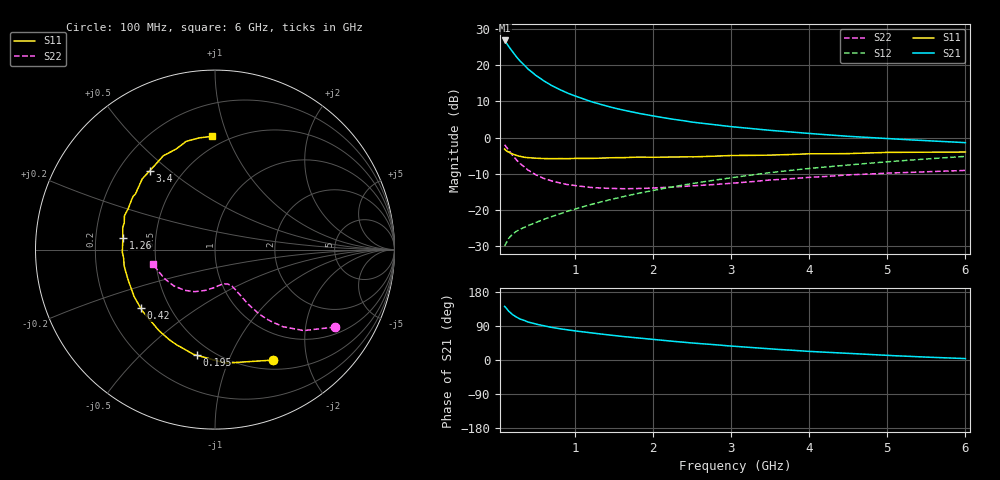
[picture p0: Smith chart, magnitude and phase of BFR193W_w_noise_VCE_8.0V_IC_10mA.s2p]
! Infineon Technologies  Discrete & RF Semiconductors
! BFR193W
! VCE =  8.0 V,  IC =  10 mA
! Common Emitter S-Parameters:  Nov 2015
# GHz  S  MA  R  50
!  f  S11  S21  S12  S22
! GHz  MAG  ANG  MAG  ANG  MAG  ANG  MAG  ANG
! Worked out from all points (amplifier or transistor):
!   192 points, 100 MHz to 6 GHz, reference 50 ohm
!   highest |S21| = 26.7 dB at 100 MHz (marker M1)
!   |S21| within 3 dB of that: start of sweep to 197.5 MHz
!   unconditionally stable (mu >= 1): 1.048 GHz to 2.619 GHz
!   at 440 MHz: K = 0.71, MSG = 21.1 dB, |S12| = -23.9 dB
!   at 1.7 GHz: K = 1.04, MAG = 10.3 dB, |S12| = -15.9 dB
!   at 6 GHz: K = 0.89, MSG = 1.9 dB, |S12| = -5.2 dB
!   lowest NFmin = 1.30 dB at 450 MHz
!   S11 on the Smith chart (normalised r, x): 100 MHz: 0.62, -1.47; 195 MHz: 0.41, -0.75; 420 MHz: 0.34, -0.31; 1.26 GHz: 0.32, +0.05; 3.4 GHz: 0.33, +0.43; 6 GHz: 0.42, +0.88
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0.1  0.6947 -62.4  21.7 141.6  0.0319 62.3  0.7965 -32.8
0.15  0.6354 -84.7  18.11 129.0  0.0406 55.5  0.6705 -42.3
0.195  0.5971 -99.8  15.5 121.0  0.0458 51.9  0.5809 -48.0
0.2  0.5956 -101.6  15.23 119.9  0.0464 51.5  0.5714 -48.7
0.24  0.572 -111.9  13.4 114.7  0.0502 50.1  0.5075 -52.0
0.26  0.5638 -116.5  12.61 112.3  0.0518 49.7  0.4806 -53.4
0.3  0.5494 -124.5  11.23 108.0  0.0546 49.2  0.4364 -55.5
0.4  0.5299 -139.9  8.763 100.2  0.0611 50.0  0.356 -58.7
0.42  0.5268 -141.9  8.438 99.3  0.0624 50.3  0.3461 -59.0
0.5  0.521 -149.9  7.166 94.7  0.0676 51.6  0.3066 -60.3
0.6  0.5134 -158.2  6.052 90.1  0.0746 53.5  0.2739 -61.9
0.7  0.5122 -164.6  5.213 86.1  0.0812 55.2  0.2524 -62.8
0.9  0.5111 -174.4  4.107 79.6  0.096 58.2  0.2254 -64.9
1.1  0.515 178.1  3.434 74.4  0.1112 60.2  0.2116 -67.7
1.26  0.5173 173.0  3.012 70.4  0.1238 61.3  0.2037 -70.3
1.6  0.5271 163.6  2.41 62.3  0.152 62.7  0.1972 -76.1
2.08  0.5364 152.9  1.916 52.7  0.1937 62.8  0.2034 -85.7
3.1  0.5659 134.2  1.379 35.3  0.2887 58.7  0.2387 -106.4
3.4  0.57 129.4  1.285 30.8  0.3187 56.8  0.2541 -113.4
4.1  0.5968 117.4  1.116 21.7  0.3836 51.4  0.2863 -129.2
5.1  0.6243 103.5  0.953 11.2  0.4722 43.3  0.3257 -151.7
6  0.6313 91.5  0.85 3.7  0.5496 35.2  0.3524 -166.5
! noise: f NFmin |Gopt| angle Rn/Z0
0.45  1.3  0.22  143  0.11
0.9  1.3  0.34  160  0.11
1.8  2.05  0.54  -153  0.14
